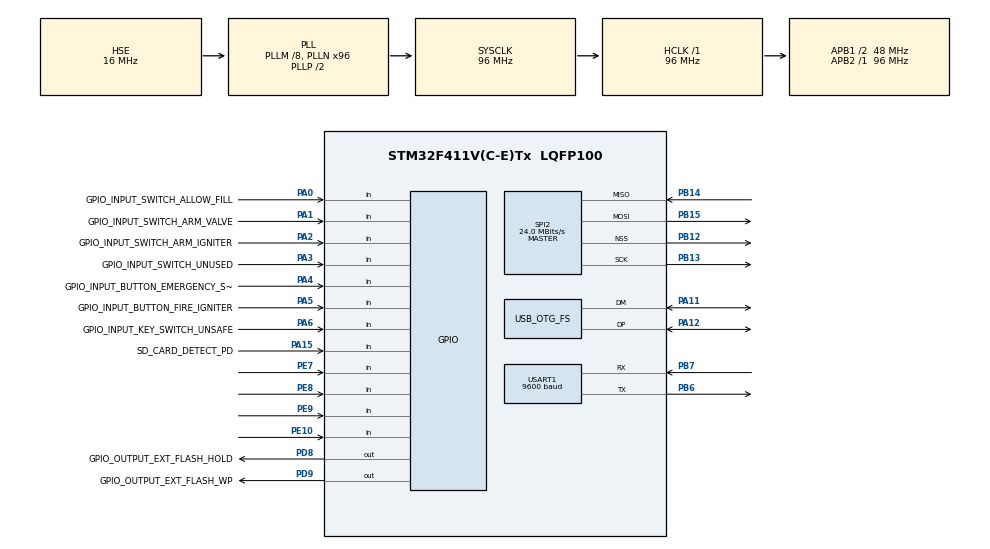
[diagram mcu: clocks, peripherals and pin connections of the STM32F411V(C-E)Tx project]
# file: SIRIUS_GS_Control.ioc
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Dma.Request0=USART1_RX
Dma.Request1=USART1_TX
Dma.USART1_RX.0.Direction=DMA_PERIPH_TO_MEMORY
Dma.USART1_RX.0.FIFOMode=DMA_FIFOMODE_DISABLE
Dma.USART1_RX.0.Instance=DMA2_Stream2
Dma.USART1_RX.0.MemDataAlignment=DMA_MDATAALIGN_BYTE
Dma.USART1_RX.0.MemInc=DMA_MINC_ENABLE
Dma.USART1_RX.0.Mode=DMA_CIRCULAR
Dma.USART1_RX.0.PeriphDataAlignment=DMA_PDATAALIGN_BYTE
Dma.USART1_RX.0.PeriphInc=DMA_PINC_DISABLE
Dma.USART1_RX.0.Priority=DMA_PRIORITY_VERY_HIGH
Dma.USART1_TX.1.Direction=DMA_MEMORY_TO_PERIPH
Dma.USART1_TX.1.FIFOMode=DMA_FIFOMODE_DISABLE
Dma.USART1_TX.1.Instance=DMA2_Stream7
Dma.USART1_TX.1.MemDataAlignment=DMA_MDATAALIGN_BYTE
Dma.USART1_TX.1.MemInc=DMA_MINC_ENABLE
Dma.USART1_TX.1.Mode=DMA_NORMAL
Dma.USART1_TX.1.PeriphDataAlignment=DMA_PDATAALIGN_BYTE
Dma.USART1_TX.1.PeriphInc=DMA_PINC_DISABLE
Dma.USART1_TX.1.Priority=DMA_PRIORITY_VERY_HIGH
Mcu.Family=STM32F4
Mcu.Name=STM32F411V(C-E)Tx
Mcu.Package=LQFP100
NVIC.DMA2_Stream2_IRQn=true\:0\:0\:false\:false\:true\:false\:true\:true
NVIC.DMA2_Stream7_IRQn=true\:0\:0\:false\:false\:true\:false\:true\:true
NVIC.OTG_FS_IRQn=true\:0\:0\:false\:false\:true\:false\:true\:true
NVIC.PriorityGroup=NVIC_PRIORITYGROUP_4
NVIC.USART1_IRQn=true\:1\:0\:true\:false\:true\:true\:true\:true
PA0-WKUP.GPIO_Label=GPIO_INPUT_SWITCH_ALLOW_FILL
PA0-WKUP.Signal=GPIO_Input
PA1.GPIO_Label=GPIO_INPUT_SWITCH_ARM_VALVE
PA1.Signal=GPIO_Input
PA11.Mode=Device_Only
PA11.Signal=USB_OTG_FS_DM
PA12.Mode=Device_Only
PA12.Signal=USB_OTG_FS_DP
PA13.Mode=Serial_Wire
PA13.Signal=SYS_JTMS-SWDIO
PA14.Mode=Serial_Wire
PA14.Signal=SYS_JTCK-SWCLK
PA15.GPIO_Label=SD_CARD_DETECT_PD
PA15.GPIO_PuPd=GPIO_PULLDOWN
PA15.Signal=GPIO_Input
PA2.GPIO_Label=GPIO_INPUT_SWITCH_ARM_IGNITER
PA2.Signal=GPIO_Input
PA3.GPIO_Label=GPIO_INPUT_SWITCH_UNUSED
PA3.Signal=GPIO_Input
PA4.GPIO_Label=GPIO_INPUT_BUTTON_EMERGENCY_STOP
PA4.Signal=GPIO_Input
PA5.GPIO_Label=GPIO_INPUT_BUTTON_FIRE_IGNITER
PA5.Signal=GPIO_Input
PA6.GPIO_Label=GPIO_INPUT_KEY_SWITCH_UNSAFE
PA6.Signal=GPIO_Input
PB12.Mode=NSS_Signal_Hard_Output
PB12.Signal=SPI2_NSS
PB13.Mode=Full_Duplex_Master
PB13.Signal=SPI2_SCK
PB14.Mode=Full_Duplex_Master
PB14.Signal=SPI2_MISO
PB15.Mode=Full_Duplex_Master
PB15.Signal=SPI2_MOSI
PB6.Mode=Asynchronous
PB6.Signal=USART1_TX
PB7.Mode=Asynchronous
PB7.Signal=USART1_RX
PC14-OSC32_IN.Mode=LSE-External-Clock-Source
PC14-OSC32_IN.Signal=RCC_OSC32_IN
PC15-OSC32_OUT.Mode=LSE-External-Clock-Source
PC15-OSC32_OUT.Signal=RCC_OSC32_OUT
PD8.GPIO_Label=GPIO_OUTPUT_EXT_FLASH_HOLD
PD8.PinState=GPIO_PIN_SET
PD8.Signal=GPIO_Output
PD9.GPIO_Label=GPIO_OUTPUT_EXT_FLASH_WP
PD9.PinState=GPIO_PIN_SET
PD9.Signal=GPIO_Output
PE10.Signal=GPIO_Input
PE7.Signal=GPIO_Input
PE8.Signal=GPIO_Input
PE9.Signal=GPIO_Input
PH0\ -\ OSC_IN.Mode=HSE-External-Oscillator
PH0\ -\ OSC_IN.Signal=RCC_OSC_IN
PH1\ -\ OSC_OUT.Mode=HSE-External-Oscillator
PH1\ -\ OSC_OUT.Signal=RCC_OSC_OUT
ProjectManager.HeapSize=0x1000
ProjectManager.StackSize=0x1800
ProjectManager.TargetToolchain=EWARM V8.50
RCC.48MHZClocksFreq_Value=48000000
RCC.AHBFreq_Value=96000000
RCC.APB1CLKDivider=RCC_HCLK_DIV2
RCC.APB1Freq_Value=48000000
RCC.APB1TimFreq_Value=96000000
RCC.APB2Freq_Value=96000000
RCC.APB2TimFreq_Value=96000000
RCC.CortexFreq_Value=96000000
RCC.HCLKFreq_Value=96000000
RCC.HSE_VALUE=16000000
RCC.HSI_VALUE=16000000
RCC.LSE_VALUE=32768
RCC.PLLM=8
RCC.PLLN=96
RCC.SYSCLKFreq_VALUE=96000000
RCC.SYSCLKSource=RCC_SYSCLKSOURCE_PLLCLK
RCC.VCOOutputFreq_Value=192000000
SPI2.CalculateBaudRate=24.0 MBits/s
SPI2.Direction=SPI_DIRECTION_2LINES
SPI2.Mode=SPI_MODE_MASTER
SPI2.VirtualNSS=VM_NSSHARD
SPI2.VirtualType=VM_MASTER
USART1.BaudRate=9600
USART1.VirtualMode=VM_ASYNC
USB_DEVICE.CLASS_NAME_FS=CDC
USB_DEVICE.VirtualMode=Cdc
USB_DEVICE.VirtualModeFS=Cdc_FS
USB_OTG_FS.VirtualMode=Device_Only
VP_CRC_VS_CRC.Mode=CRC_Activate
VP_USB_DEVICE_VS_USB_DEVICE_CDC_FS.Mode=CDC_FS
board=custom

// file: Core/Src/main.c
/* USER CODE BEGIN Header */
/**
  ******************************************************************************
  * @file           : main.c
  * @brief          : Main program body
  ******************************************************************************
  * @attention
  *
  * Copyright (c) 2024 STMicroelectronics.
  * All rights reserved.
  *
  * This software is licensed under terms that can be found in the LICENSE file
  * in the root directory of this software component.
  * If no LICENSE file comes with this software, it is provided AS-IS.
  *
  ******************************************************************************
  */
/* USER CODE END Header */
#include "main.h"
#include "usb_device.h"

/* USER CODE BEGIN Includes */
#include "usbd_cdc_if.h"
#include "GSControl.h"
/* USER CODE END Includes */

CRC_HandleTypeDef hcrc;

SPI_HandleTypeDef hspi2;

UART_HandleTypeDef huart1;
DMA_HandleTypeDef hdma_usart1_rx;
DMA_HandleTypeDef hdma_usart1_tx;

/* USER CODE BEGIN PV */
GPIO gpios[GS_CONTROL_GPIO_AMOUNT] = {0};
UART uart                          = {0};
volatile USB usb                   = {0};
Telecommunication telecom          = {0};
Button buttons[GS_CONTROL_BUTTON_AMOUNT] = {0};

uint8_t uartRxBuffer[44] = {0};
uint8_t uartTxBuffer[44] = {0};
/* USER CODE END PV */

void SystemClock_Config(void);
static void MX_GPIO_Init(void);
static void MX_DMA_Init(void);
static void MX_USART1_UART_Init(void);
static void MX_SPI2_Init(void);
static void MX_CRC_Init(void);
/* USER CODE BEGIN PFP */

static void setupGPIOs();
static void setupUART();
static void setupUSB();
static void setupTelecommunication();
static void setupButton();

/* USER CODE END PFP */

int main(void)
{

  /* MCU Configuration--------------------------------------------------------*/

  /* Reset of all peripherals, Initializes the Flash interface and the Systick. */
  HAL_Init();

  /* Configure the system clock */
  SystemClock_Config();

  /* Initialize all configured peripherals */
  MX_GPIO_Init();
  MX_DMA_Init();
  MX_USART1_UART_Init();
  MX_USB_DEVICE_Init();
  MX_SPI2_Init();
  MX_CRC_Init();
  /* USER CODE BEGIN 2 */

  // Setup Peripherals
  setupGPIOs();
  setupUART();
  setupUSB();
  setupButton();

  // Setup Sensors/Devices
  setupTelecommunication();

  GSControl_init(gpios, &uart, &usb, &telecom, buttons, &hcrc);

  /* USER CODE END 2 */

  /* Infinite loop */
  /* USER CODE BEGIN WHILE */
  const uint8_t bootLoaderBypassMessage = 0x62; // 'b'
  for (uint8_t i = 0; i < 4; i++) {
    HAL_UART_Transmit_DMA(&huart1, &bootLoaderBypassMessage, sizeof(bootLoaderBypassMessage));
    HAL_Delay(50);
  }

  while (1)
  {
    GSControl_tick(HAL_GetTick());
    /* USER CODE END WHILE */

  }
}

void SystemClock_Config(void)
{
  RCC_OscInitTypeDef RCC_OscInitStruct = {0};
  RCC_ClkInitTypeDef RCC_ClkInitStruct = {0};

  /** Configure the main internal regulator output voltage
  */
  __HAL_RCC_PWR_CLK_ENABLE();
  __HAL_PWR_VOLTAGESCALING_CONFIG(PWR_REGULATOR_VOLTAGE_SCALE1);

  /** Initializes the RCC Oscillators according to the specified parameters
  * in the RCC_OscInitTypeDef structure.
  */
  RCC_OscInitStruct.OscillatorType = RCC_OSCILLATORTYPE_HSE;
  RCC_OscInitStruct.HSEState = RCC_HSE_ON;
  RCC_OscInitStruct.PLL.PLLState = RCC_PLL_ON;
  RCC_OscInitStruct.PLL.PLLSource = RCC_PLLSOURCE_HSE;
  RCC_OscInitStruct.PLL.PLLM = 8;
  RCC_OscInitStruct.PLL.PLLN = 96;
  RCC_OscInitStruct.PLL.PLLP = RCC_PLLP_DIV2;
  RCC_OscInitStruct.PLL.PLLQ = 4;
  if (HAL_RCC_OscConfig(&RCC_OscInitStruct) != HAL_OK)
  {
    Error_Handler();
  }

  /** Initializes the CPU, AHB and APB buses clocks
  */
  RCC_ClkInitStruct.ClockType = RCC_CLOCKTYPE_HCLK|RCC_CLOCKTYPE_SYSCLK
                              |RCC_CLOCKTYPE_PCLK1|RCC_CLOCKTYPE_PCLK2;
  RCC_ClkInitStruct.SYSCLKSource = RCC_SYSCLKSOURCE_PLLCLK;
  RCC_ClkInitStruct.AHBCLKDivider = RCC_SYSCLK_DIV1;
  RCC_ClkInitStruct.APB1CLKDivider = RCC_HCLK_DIV2;
  RCC_ClkInitStruct.APB2CLKDivider = RCC_HCLK_DIV1;

  if (HAL_RCC_ClockConfig(&RCC_ClkInitStruct, FLASH_LATENCY_3) != HAL_OK)
  {
    Error_Handler();
  }
}

static void MX_CRC_Init(void)
{

  hcrc.Instance = CRC;
  if (HAL_CRC_Init(&hcrc) != HAL_OK)
  {
    Error_Handler();
  }

}

static void MX_SPI2_Init(void)
{

  /* SPI2 parameter configuration*/
  hspi2.Instance = SPI2;
  hspi2.Init.Mode = SPI_MODE_MASTER;
  hspi2.Init.Direction = SPI_DIRECTION_2LINES;
  hspi2.Init.DataSize = SPI_DATASIZE_8BIT;
  hspi2.Init.CLKPolarity = SPI_POLARITY_LOW;
  hspi2.Init.CLKPhase = SPI_PHASE_1EDGE;
  hspi2.Init.NSS = SPI_NSS_HARD_OUTPUT;
  hspi2.Init.BaudRatePrescaler = SPI_BAUDRATEPRESCALER_2;
  hspi2.Init.FirstBit = SPI_FIRSTBIT_MSB;
  hspi2.Init.TIMode = SPI_TIMODE_DISABLE;
  hspi2.Init.CRCCalculation = SPI_CRCCALCULATION_DISABLE;
  hspi2.Init.CRCPolynomial = 10;
  if (HAL_SPI_Init(&hspi2) != HAL_OK)
  {
    Error_Handler();
  }

}

static void MX_USART1_UART_Init(void)
{

  huart1.Instance = USART1;
  huart1.Init.BaudRate = 9600;
  huart1.Init.WordLength = UART_WORDLENGTH_8B;
  huart1.Init.StopBits = UART_STOPBITS_1;
  huart1.Init.Parity = UART_PARITY_NONE;
  huart1.Init.Mode = UART_MODE_TX_RX;
  huart1.Init.HwFlowCtl = UART_HWCONTROL_NONE;
  huart1.Init.OverSampling = UART_OVERSAMPLING_16;
  if (HAL_UART_Init(&huart1) != HAL_OK)
  {
    Error_Handler();
  }

}

static void MX_DMA_Init(void)
{

  /* DMA controller clock enable */
  __HAL_RCC_DMA2_CLK_ENABLE();

  /* DMA interrupt init */
  /* DMA2_Stream2_IRQn interrupt configuration */
  HAL_NVIC_SetPriority(DMA2_Stream2_IRQn, 0, 0);
  HAL_NVIC_EnableIRQ(DMA2_Stream2_IRQn);
  /* DMA2_Stream7_IRQn interrupt configuration */
  HAL_NVIC_SetPriority(DMA2_Stream7_IRQn, 0, 0);
  HAL_NVIC_EnableIRQ(DMA2_Stream7_IRQn);

}

static void MX_GPIO_Init(void)
{
  GPIO_InitTypeDef GPIO_InitStruct = {0};

  /* GPIO Ports Clock Enable */
  __HAL_RCC_GPIOC_CLK_ENABLE();
  __HAL_RCC_GPIOH_CLK_ENABLE();
  __HAL_RCC_GPIOA_CLK_ENABLE();
  __HAL_RCC_GPIOE_CLK_ENABLE();
  __HAL_RCC_GPIOB_CLK_ENABLE();
  __HAL_RCC_GPIOD_CLK_ENABLE();

  /*Configure GPIO pin Output Level */
  HAL_GPIO_WritePin(GPIOD, GPIO_OUTPUT_EXT_FLASH_HOLD_Pin|GPIO_OUTPUT_EXT_FLASH_WP_Pin, GPIO_PIN_SET);

  /*Configure GPIO pins : GPIO_INPUT_SWITCH_ALLOW_FILL_Pin GPIO_INPUT_SWITCH_ARM_VALVE_Pin GPIO_INPUT_SWITCH_ARM_IGNITER_Pin GPIO_INPUT_SWITCH_UNUSED_Pin
                           GPIO_INPUT_BUTTON_EMERGENCY_STOP_Pin GPIO_INPUT_BUTTON_FIRE_IGNITER_Pin GPIO_INPUT_KEY_SWITCH_UNSAFE_Pin */
  GPIO_InitStruct.Pin = GPIO_INPUT_SWITCH_ALLOW_FILL_Pin|GPIO_INPUT_SWITCH_ARM_VALVE_Pin|GPIO_INPUT_SWITCH_ARM_IGNITER_Pin|GPIO_INPUT_SWITCH_UNUSED_Pin
                          |GPIO_INPUT_BUTTON_EMERGENCY_STOP_Pin|GPIO_INPUT_BUTTON_FIRE_IGNITER_Pin|GPIO_INPUT_KEY_SWITCH_UNSAFE_Pin;
  GPIO_InitStruct.Mode = GPIO_MODE_INPUT;
  GPIO_InitStruct.Pull = GPIO_NOPULL;
  HAL_GPIO_Init(GPIOA, &GPIO_InitStruct);

  /*Configure GPIO pins : PE7 PE8 PE9 PE10 */
  GPIO_InitStruct.Pin = GPIO_PIN_7|GPIO_PIN_8|GPIO_PIN_9|GPIO_PIN_10;
  GPIO_InitStruct.Mode = GPIO_MODE_INPUT;
  GPIO_InitStruct.Pull = GPIO_NOPULL;
  HAL_GPIO_Init(GPIOE, &GPIO_InitStruct);

  /*Configure GPIO pins : GPIO_OUTPUT_EXT_FLASH_HOLD_Pin GPIO_OUTPUT_EXT_FLASH_WP_Pin */
  GPIO_InitStruct.Pin = GPIO_OUTPUT_EXT_FLASH_HOLD_Pin|GPIO_OUTPUT_EXT_FLASH_WP_Pin;
  GPIO_InitStruct.Mode = GPIO_MODE_OUTPUT_PP;
  GPIO_InitStruct.Pull = GPIO_NOPULL;
  GPIO_InitStruct.Speed = GPIO_SPEED_FREQ_LOW;
  HAL_GPIO_Init(GPIOD, &GPIO_InitStruct);

  /*Configure GPIO pin : SD_CARD_DETECT_PD_Pin */
  GPIO_InitStruct.Pin = SD_CARD_DETECT_PD_Pin;
  GPIO_InitStruct.Mode = GPIO_MODE_INPUT;
  GPIO_InitStruct.Pull = GPIO_PULLDOWN;
  HAL_GPIO_Init(SD_CARD_DETECT_PD_GPIO_Port, &GPIO_InitStruct);

}

/* USER CODE BEGIN 4 */

// These should only link HAL to instance and set base function pointers

void setupGPIOs() {
  gpios[GS_CONTROL_GPIO_ALLOW_FILL_INDEX].errorStatus.bits.notInitialized = 1;
  gpios[GS_CONTROL_GPIO_ALLOW_FILL_INDEX].externalHandle = GPIOE;
  gpios[GS_CONTROL_GPIO_ALLOW_FILL_INDEX].pinNumber = GPIO_PIN_7;
  gpios[GS_CONTROL_GPIO_ALLOW_FILL_INDEX].mode = GPIO_INPUT_MODE;
  gpios[GS_CONTROL_GPIO_ALLOW_FILL_INDEX].init = (GPIO_init)GPIOHAL_init;

  gpios[GS_CONTROL_GPIO_ARM_VALVE_INDEX].errorStatus.bits.notInitialized = 1;
  gpios[GS_CONTROL_GPIO_ARM_VALVE_INDEX].externalHandle = GPIOE;
  gpios[GS_CONTROL_GPIO_ARM_VALVE_INDEX].pinNumber = GPIO_PIN_8;
  gpios[GS_CONTROL_GPIO_ARM_VALVE_INDEX].mode = GPIO_INPUT_MODE;
  gpios[GS_CONTROL_GPIO_ARM_VALVE_INDEX].init = (GPIO_init)GPIOHAL_init;

  gpios[GS_CONTROL_GPIO_ARM_IGNITER_INDEX].errorStatus.bits.notInitialized = 1;
  gpios[GS_CONTROL_GPIO_ARM_IGNITER_INDEX].externalHandle = GPIOE;
  gpios[GS_CONTROL_GPIO_ARM_IGNITER_INDEX].pinNumber = GPIO_PIN_9;
  gpios[GS_CONTROL_GPIO_ARM_IGNITER_INDEX].mode = GPIO_INPUT_MODE;
  gpios[GS_CONTROL_GPIO_ARM_IGNITER_INDEX].init = (GPIO_init)GPIOHAL_init;

  gpios[GS_CONTROL_BUTTON_ALLOW_DUMP_INDEX].errorStatus.bits.notInitialized = 1;
  gpios[GS_CONTROL_BUTTON_ALLOW_DUMP_INDEX].externalHandle = GPIOE;
  gpios[GS_CONTROL_BUTTON_ALLOW_DUMP_INDEX].pinNumber = GPIO_PIN_10;
  gpios[GS_CONTROL_BUTTON_ALLOW_DUMP_INDEX].mode = GPIO_INPUT_MODE;
  gpios[GS_CONTROL_BUTTON_ALLOW_DUMP_INDEX].init = (GPIO_init)GPIOHAL_init;

  gpios[GS_CONTROL_GPIO_EMERGENCY_STOP_INDEX].errorStatus.bits.notInitialized = 1;
  gpios[GS_CONTROL_GPIO_EMERGENCY_STOP_INDEX].externalHandle = GPIOA;
  gpios[GS_CONTROL_GPIO_EMERGENCY_STOP_INDEX].pinNumber = GPIO_PIN_0;
  gpios[GS_CONTROL_GPIO_EMERGENCY_STOP_INDEX].mode = GPIO_INPUT_MODE;
  gpios[GS_CONTROL_GPIO_EMERGENCY_STOP_INDEX].init = (GPIO_init)GPIOHAL_init;

  gpios[GS_CONTROL_GPIO_FIRE_IGNITER_INDEX].errorStatus.bits.notInitialized = 1;
  gpios[GS_CONTROL_GPIO_FIRE_IGNITER_INDEX].externalHandle = GPIOA;
  gpios[GS_CONTROL_GPIO_FIRE_IGNITER_INDEX].pinNumber = GPIO_PIN_3;
  gpios[GS_CONTROL_GPIO_FIRE_IGNITER_INDEX].mode = GPIO_INPUT_MODE;
  gpios[GS_CONTROL_GPIO_FIRE_IGNITER_INDEX].init = (GPIO_init)GPIOHAL_init;

  gpios[GS_CONTROL_GPIO_UNSAFE_INDEX].errorStatus.bits.notInitialized = 1;
  gpios[GS_CONTROL_GPIO_UNSAFE_INDEX].externalHandle = GPIOA;
  gpios[GS_CONTROL_GPIO_UNSAFE_INDEX].pinNumber = GPIO_PIN_1;
  gpios[GS_CONTROL_GPIO_UNSAFE_INDEX].mode = GPIO_INPUT_MODE;
  gpios[GS_CONTROL_GPIO_UNSAFE_INDEX].init = (GPIO_init)GPIOHAL_init;

  gpios[GS_CONTROL_BUTTON_VALVE_START_INDEX].errorStatus.bits.notInitialized = 1;
  gpios[GS_CONTROL_BUTTON_VALVE_START_INDEX].externalHandle = GPIOA;
  gpios[GS_CONTROL_BUTTON_VALVE_START_INDEX].pinNumber = GPIO_PIN_2;
  gpios[GS_CONTROL_BUTTON_VALVE_START_INDEX].mode = GPIO_INPUT_MODE;
  gpios[GS_CONTROL_BUTTON_VALVE_START_INDEX].init = (GPIO_init)GPIOHAL_init;
}

void setupUART() {
  uart.errorStatus.bits.notInitialized = 1;
  uart.init = (UART_init)UARTHAL_init;
  uart.externalHandle = &huart1;
}

void setupUSB() {
  usb.errorStatus.bits.notInitialized = 1;
  usb.init = (USB_init)USBHAL_init;

  usbCdc = &usb;
}

void setupTelecommunication(){
  telecom.errorStatus.bits.notInitialized = 1;
  telecom.init = (Telecommunication_init)XBEE_init;
}

void setupButton(){
  for(uint8_t i = 0; i < GS_CONTROL_BUTTON_AMOUNT; i++)
  {
    buttons[i].errorStatus.bits.notInitialized = 1;
    buttons[i].init = (Button_init)ButtonActiveHigh_init;
  }
}

/* USER CODE END 4 */

void Error_Handler(void)
{
  __disable_irq();
  while (1)
  {
  }
}
